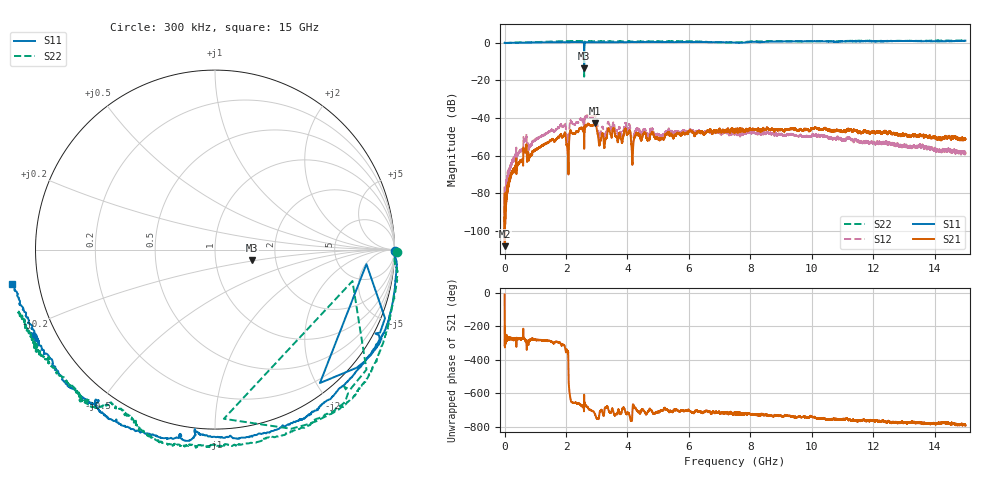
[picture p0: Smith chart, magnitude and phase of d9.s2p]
!Agilent Technologies,N5230C,SG49000117,A.08.50.07
!Agilent N5230C: A.08.50.07
!Date: Friday, May 17, 2024 04:44:07
!Correction: S11(Full 2 Port(1,2))
!S21(Full 2 Port(1,2))
!S12(Full 2 Port(1,2))
!S22(Full 2 Port(1,2))
!S2P File: Measurements: S11, S21, S12, S22:
# Hz S  MA  R 50
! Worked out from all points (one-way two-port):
!   20001 points, 300 kHz to 15 GHz, reference 50 ohm
!   highest |S21| = -42.71 dB at 2.944 GHz (marker M1); lowest = -108.3 dB at 4.05 MHz (marker M2)
!   lowest |S11| = -13.4 dB at 2.59 GHz (marker M3), VSWR 1.54, Z = 75.1 - j9.18 ohm
!   |S11| at or under -10 dB: 2.58912 GHz to 2.590482 GHz (1.362 MHz wide, 0.0526 % of centre)
!   |S22| runs from -18.0 to 1.3 dB; largest |S21 - S12| = 0.0065
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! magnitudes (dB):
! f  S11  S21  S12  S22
! 300 kHz  0.0  -99.2  -86.9  0.1
! 4.05 MHz  0.0  -108.3  -105.3  0.0
! 220 MHz  0.1  -69.8  -64.5  0.1
! 646.8 MHz  0.2  -57.7  -52.1  0.3
! 798.3 MHz  0.2  -61.3  -55.7  0.3
! 1.905 GHz  0.4  -49.6  -44.3  0.9
! 2.055 GHz  0.4  -58.2  -53.2  1.0
! 2.181 GHz  0.4  -47.8  -42.4  1.0
! 2.501 GHz  0.4  -45.1  -40.4  1.0
! 2.59 GHz  -13.4  -56.4  -56.7  -16.5
! 2.944 GHz  0.3  -42.7  -38.6  0.8
! 3.105 GHz  0.4  -52.8  -49.1  0.9
! 3.403 GHz  0.4  -46.3  -43.2  0.8
! 3.819 GHz  0.4  -53.0  -50.6  0.8
! 3.968 GHz  0.4  -47.8  -45.0  0.8
! 4.174 GHz  0.5  -58.2  -55.9  0.7
! 4.327 GHz  0.5  -48.5  -45.7  0.8
! 5 GHz  0.5  -51.2  -49.0  0.8
! 7.5 GHz  0.2  -47.5  -48.5  0.3
! 10 GHz  0.9  -45.7  -49.4  0.9
! 12.5 GHz  0.9  -47.8  -53.4  1.0
! 15 GHz  1.2  -51.4  -58.5  1.3
